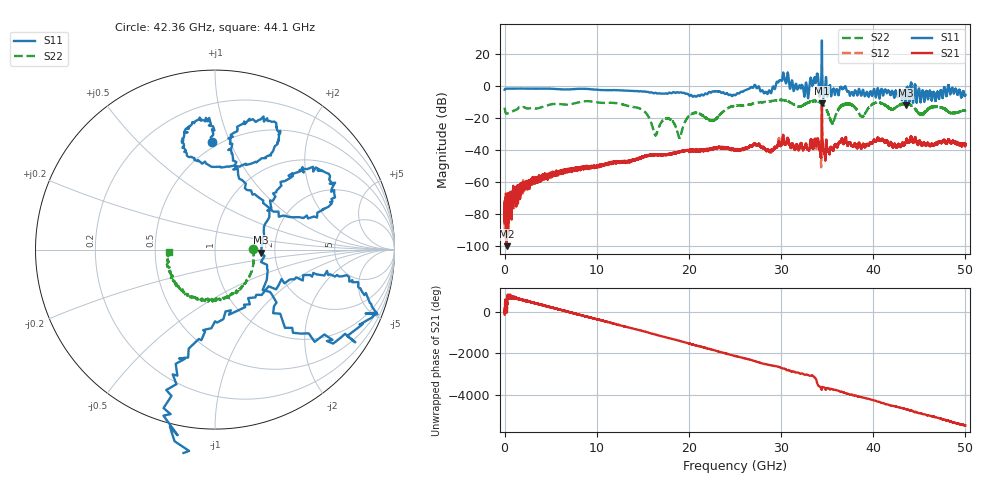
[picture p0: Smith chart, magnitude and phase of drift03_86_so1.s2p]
!Created with skrf (http://scikit-rf.org).
# Hz S RI R 50.0
!freq ReS11 ImS11 ReS21 ImS21 ReS12 ImS12 ReS22 ImS22
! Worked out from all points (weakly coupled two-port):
!   10000 points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, 5.3 MHz to 50 GHz, reference 50 ohm
!   highest |S21| = -10.66 dB at 34.43 GHz (marker M1); lowest = -99.9 dB at 215.3 MHz (marker M2)
!   lowest |S11| = -11.8 dB at 43.52 GHz (marker M3), VSWR 1.70, Z = 84.7 - j2.96 ohm
!   |S11| at or under -10 dB: 43.48473 GHz to 43.54546 GHz (60.72 MHz wide, 0.14 % of centre); 44.30827 GHz to 44.31888 GHz (10.61 MHz wide, 0.0239 % of centre); 44.32379 GHz to 44.32552 GHz (1.725 MHz wide, 0.00389 % of centre) (the widest 3 of 4)
!   |S22| runs from -32.2 to -8.4 dB; largest |S21 - S12| = 0.083
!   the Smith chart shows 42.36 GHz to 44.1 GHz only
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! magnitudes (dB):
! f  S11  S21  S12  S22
! 5.3 MHz  -2.1  -73.1  -85.8  -13.3
! 215.3 MHz  -1.4  -99.9  -76.6  -17.0
! 2.915 GHz  -1.4  -59.8  -59.6  -13.5
! 8.34 GHz  -1.5  -51.3  -51.5  -9.5
! 14.6 GHz  -3.1  -44.9  -45.0  -13.6
! 16.67 GHz  -4.4  -42.8  -42.6  -26.6
! 17.79 GHz  -4.3  -42.5  -42.4  -20.1
! 19 GHz  -3.9  -40.9  -41.1  -32.1
! 20.32 GHz  -5.8  -40.2  -40.2  -17.0
! 22.62 GHz  -3.1  -39.5  -38.7  -21.4
! 25.01 GHz  -5.5  -39.6  -39.7  -12.1
! 28.72 GHz  -2.5  -40.3  -40.3  -9.3
! 30.14 GHz  4.5  -33.4  -33.8  -8.5
! 32.74 GHz  2.0  -36.9  -36.7  -10.5
! 33.34 GHz  2.7  -34.8  -35.4  -9.3
! 34.43 GHz  28.7  -10.7  -12.5  -10.8
! 35.55 GHz  -2.9  -38.9  -39.1  -23.0
! 36.95 GHz  0.2  -33.0  -33.4  -11.0
! 38.78 GHz  -4.6  -38.3  -37.5  -19.0
! 41.67 GHz  -2.8  -36.9  -36.9  -13.3
! 43.52 GHz  -11.8  -35.1  -35.1  -10.7
! 50 GHz  -5.3  -36.3  -36.3  -15.4
